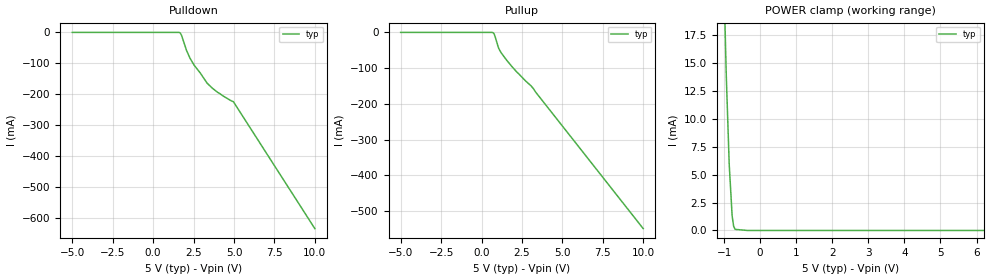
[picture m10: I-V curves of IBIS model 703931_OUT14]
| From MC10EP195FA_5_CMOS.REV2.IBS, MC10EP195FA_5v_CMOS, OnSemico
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| (C) COPYRIGHT 1993-2001
| MENTOR GRAPHICS CORPORATION
| ICX STANDARD LIBRARY, ICX PROJECT MODELING,
| ICX CUSTOM MODELING, ICX VENDOR MODEL
| ALL RIGHTS RESERVED.
| THE FOLLOWING ARE TRADEMARKS OR SERVICE MARKS OF
| MENTOR GRAPHICS CORPORATION:ICX (R), ICX STANDARD
| LIBRARY(R), ICX PROJECT MODELING(R), ICX CUSTOM
| MODELING(R), qualityIBIS(TM), MODELVIEWER(TM),
| AND MODELEDITOR(TM)
| ALL COPIES OF SOFTWARE, INCLUDING BUT NOT LIMITED TO
| ANY MODIFICATIONS, ENHANCEMENTS OR DERIVATIVE WORKS,
| MUST CONTAIN ALL MENTOR GRAPHICS CORPORATION'S
| NOTICES AND LEGENDS, INCLUDING THOSE EMBEDDED IN
| SOFTWARE AND THOSE AFFIXED TO SOFTWARE MEDIUM
| AND CONTAINER, AS RECEIVED FROM MENTOR GRAPHICS
| CORPORATION.
| Model Application Version 1.89 2/18/99.
[Model] 703931_OUT14
Model_type Output_ECL
Vref=3.000V
Rref=50.00ohms
Cref=5.000pF
Vmeas=3.655V
C_comp 8.000pF NA NA
| variable typ   min   max
[Voltage Range] 5.000V NA NA
[POWER Clamp Reference] 5.000V NA NA
[Pullup Reference] 5.000V NA NA
[Pulldown Reference] 5.000V NA NA
[GND Clamp Reference] 0.000V NA NA
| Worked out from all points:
|   POWER clamp passes 1 mA (typ) near -0.76 V on its own axis
[GND Clamp]
-5V       0A         NA         NA
10V       0A         NA         NA
[Pulldown]
-5V       0A         NA         NA
1.676V    -1.9mA     NA         NA
1.757V    -9.6mA     NA         NA
2.061V    -58.1mA    NA         NA
2.284V    -84.2mA    NA         NA
2.527V    -105.7mA   NA         NA
2.913V    -131.6mA   NA         NA
3.338V    -164.6mA   NA         NA
3.662V    -180.9mA   NA         NA
4.331V    -206.2mA   NA         NA
4.96V     -224.5mA   NA         NA
10V       -636.1mA   NA         NA
[Pullup]
-5V       0A         NA         NA
622mV     0A         NA         NA
743mV     -1.9mA     NA         NA
824mV     -9.5mA     NA         NA
1.047V    -42.9mA    NA         NA
1.23V     -58mA      NA         NA
1.554V    -77.7mA    NA         NA
2.183V    -111mA     NA         NA
3.217V    -157.8mA   NA         NA
10V       -548.8mA   NA         NA
[POWER Clamp]
-5V       628.1mA    NA         NA
-1.041V   26.9mA     NA         NA
-939mV    13.8mA     NA         NA
-858mV    5.9mA      NA         NA
-777mV    1.3mA      NA         NA
-737mV    400uA      NA         NA
-696mV    100uA      NA         NA
-348mV    0A         NA         NA
10V       0A         NA         NA
[Ramp]
| variable typ min max
dV/dt_r 240.4m/220.0p NA NA
dV/dt_f 240.4m/184.1p NA NA
R_load = 50.00Ohms
